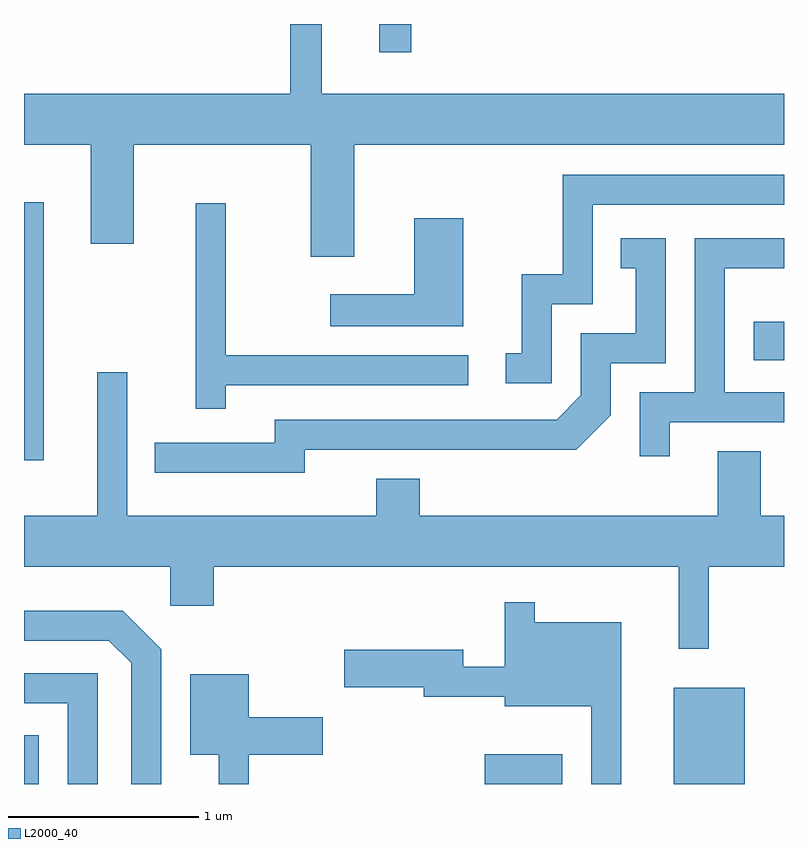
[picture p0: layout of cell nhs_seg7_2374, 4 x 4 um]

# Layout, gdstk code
import gdstk
lib = gdstk.Library(unit=1e-6, precision=1e-09)
def R(c, l, rs):  # rectangles x0, y0, x1, y1
    for r in rs: c.add(gdstk.rectangle(r[:2], r[2:], *l))
def P(c, l, *ps):  # polygons
    for p in ps: c.add(gdstk.Polygon(p, *l))
L2000_40 = (2000, 40)

nhs_seg7_2374 = lib.new_cell('nhs_seg7_2374')
R(nhs_seg7_2374, L2000_40, [(257.611,1744.252,257.689,1744.509), (260.036,1744.252,260.444,1744.409), (261.031,1744.252,261.404,1744.759), (257.611,1745.956,257.714,1747.314), (261.451,1746.481,261.611,1746.684), (259.481,1748.103,259.649,1748.252)])
P(nhs_seg7_2374, L2000_40, [(259.349,1747.616),(261.611,1747.616),(261.611,1747.884),(259.179,1747.884),(259.179,1748.252),(259.011,1748.252),(259.011,1747.884),(257.611,1747.884),(257.611,1747.616),(257.961,1747.616),(257.961,1747.096),(258.189,1747.096),(258.189,1747.616),(259.121,1747.616),(259.121,1747.026),(259.349,1747.026)],
  [(260.389,1746.776),(260.604,1746.776),(260.604,1747.301),(261.611,1747.301),(261.611,1747.459),(260.446,1747.459),(260.446,1746.934),(260.231,1746.934),(260.231,1746.519),(260.147,1746.519),(260.147,1746.361),(260.389,1746.361)],
  [(258.674,1746.351),(259.948,1746.351),(259.948,1746.509),(258.674,1746.509),(258.674,1747.308),(258.516,1747.308),(258.516,1746.228),(258.674,1746.228)],
  [(259.924,1747.229),(259.666,1747.229),(259.666,1746.829),(259.223,1746.829),(259.223,1746.661),(259.924,1746.661)],
  [(259.089,1746.011),(260.517,1746.011),(260.699,1746.194),(260.699,1746.466),(260.989,1746.466),(260.989,1747.124),(260.753,1747.124),(260.753,1746.966),(260.831,1746.966),(260.831,1746.624),(260.541,1746.624),(260.541,1746.297),(260.414,1746.169),(258.931,1746.169),(258.931,1746.049),(258.298,1746.049),(258.298,1745.891),(259.089,1745.891)],
  [(261.009,1746.156),(261.611,1746.156),(261.611,1746.314),(261.299,1746.314),(261.299,1746.966),(261.611,1746.966),(261.611,1747.124),(261.141,1747.124),(261.141,1746.314),(260.851,1746.314),(260.851,1745.978),(261.009,1745.978)],
  [(261.214,1745.396),(261.611,1745.396),(261.611,1745.664),(261.489,1745.664),(261.489,1746.004),(261.261,1746.004),(261.261,1745.664),(259.694,1745.664),(259.694,1745.859),(259.466,1745.859),(259.466,1745.664),(258.154,1745.664),(258.154,1746.418),(257.996,1746.418),(257.996,1745.664),(257.611,1745.664),(257.611,1745.396),(258.381,1745.396),(258.381,1745.191),(258.609,1745.191),(258.609,1745.396),(261.056,1745.396),(261.056,1744.963),(261.214,1744.963)],
  [(260.754,1745.104),(260.299,1745.104),(260.299,1745.208),(260.141,1745.208),(260.141,1744.869),(259.924,1744.869),(259.924,1744.959),(259.296,1744.959),(259.296,1744.761),(259.716,1744.761),(259.716,1744.711),(260.141,1744.711),(260.141,1744.661),(260.596,1744.661),(260.596,1744.252),(260.754,1744.252)],
  [(258.334,1744.962),(258.132,1745.164),(257.611,1745.164),(257.611,1745.006),(258.058,1745.006),(258.176,1744.889),(258.176,1744.252),(258.334,1744.252)],
  [(257.999,1744.834),(257.611,1744.834),(257.611,1744.676),(257.841,1744.676),(257.841,1744.252),(257.999,1744.252)],
  [(258.794,1744.406),(259.184,1744.406),(259.184,1744.604),(258.794,1744.604),(258.794,1744.829),(258.486,1744.829),(258.486,1744.406),(258.636,1744.406),(258.636,1744.252),(258.794,1744.252)])

lib.write_gds('nhs_seg7_2374.gds')
